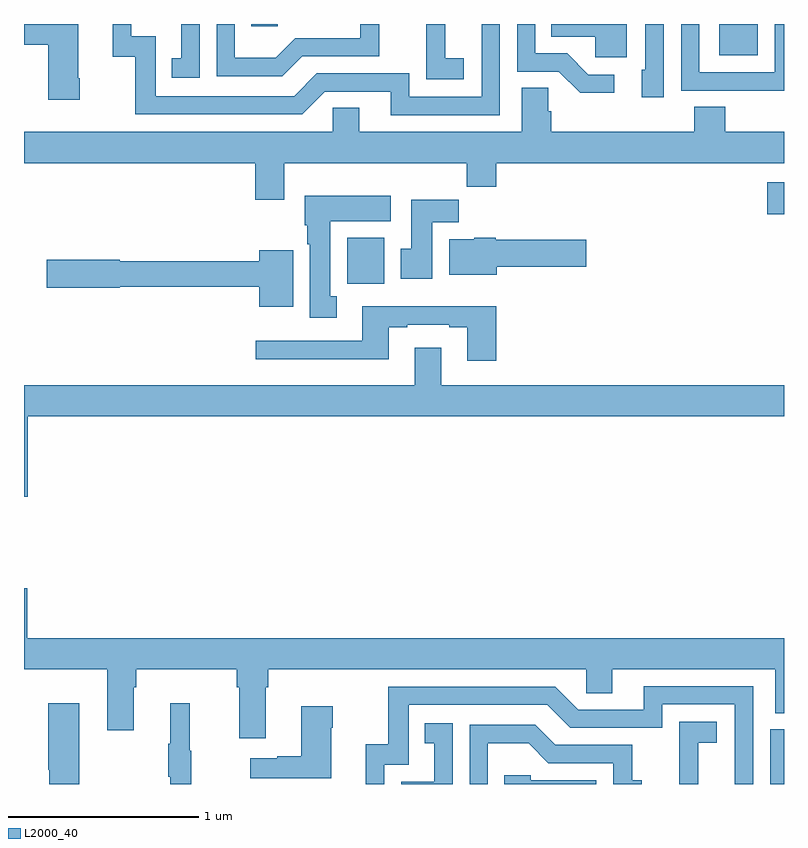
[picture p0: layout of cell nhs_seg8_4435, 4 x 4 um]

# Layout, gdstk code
import gdstk
lib = gdstk.Library(unit=1e-6, precision=1e-09)
def R(c, l, rs):  # rectangles x0, y0, x1, y1
    for r in rs: c.add(gdstk.rectangle(r[:2], r[2:], *l))
def P(c, l, *ps):  # polygons
    for p in ps: c.add(gdstk.Polygon(p, *l))
L2000_40 = (2000, 40)

nhs_seg8_4435 = lib.new_cell('nhs_seg8_4435')
R(nhs_seg8_4435, L2000_40, [(384.927,1111.9,385,1112.187), (382.7,1114.532,382.897,1114.774), (384.912,1114.898,385,1115.068), (384.659,1115.735,384.862,1115.9), (382.195,1115.889,382.335,1115.9)])
P(nhs_seg8_4435, L2000_40, [(381.924,1115.9),(381.827,1115.9),(381.827,1115.721),(381.778,1115.721),(381.778,1115.616),(381.924,1115.616)],
  [(384.172,1115.9),(383.776,1115.9),(383.776,1115.834),(384.007,1115.834),(384.007,1115.726),(384.172,1115.726)],
  [(384.106,1115.634),(383.971,1115.634),(383.86,1115.745),(383.691,1115.745),(383.691,1115.9),(383.595,1115.9),(383.595,1115.649),(383.814,1115.649),(383.927,1115.537),(384.106,1115.537)],
  [(384.366,1115.9),(384.27,1115.9),(384.27,1115.658),(384.251,1115.658),(384.251,1115.514),(384.366,1115.514)],
  [(383.505,1115.9),(383.409,1115.9),(383.409,1115.517),(383.028,1115.517),(383.028,1115.64),(382.542,1115.64),(382.422,1115.52),(381.693,1115.52),(381.693,1115.835),(381.564,1115.835),(381.564,1115.9),(381.467,1115.9),(381.467,1115.727),(381.585,1115.727),(381.585,1115.424),(382.464,1115.424),(382.584,1115.544),(382.931,1115.544),(382.931,1115.421),(383.505,1115.421)],
  [(381.294,1115.614),(381.286,1115.614),(381.286,1115.9),(381,1115.9),(381,1115.801),(381.002,1115.801),(381.002,1115.791),(381.128,1115.791),(381.128,1115.502),(381.294,1115.502)],
  [(382.465,1115.73),(382.869,1115.73),(382.869,1115.9),(382.77,1115.9),(382.77,1115.826),(382.428,1115.826),(382.324,1115.722),(382.11,1115.722),(382.11,1115.9),(382.014,1115.9),(382.014,1115.625),(382.36,1115.625)],
  [(383.314,1115.719),(383.216,1115.719),(383.216,1115.9),(383.117,1115.9),(383.117,1115.815),(383.116,1115.815),(383.116,1115.609),(383.314,1115.609)],
  [(385,1115.9),(384.951,1115.9),(384.951,1115.646),(384.555,1115.646),(384.555,1115.9),(384.459,1115.9),(384.459,1115.55),(384.775,1115.55),(384.775,1115.549),(385,1115.549)],
  [(382.369,1115.168),(383.329,1115.168),(383.329,1115.044),(383.486,1115.044),(383.486,1115.168),(385,1115.168),(385,1115.332),(384.692,1115.332),(384.692,1115.465),(384.527,1115.465),(384.527,1115.332),(383.774,1115.332),(383.774,1115.441),(383.76,1115.441),(383.76,1115.564),(383.621,1115.564),(383.621,1115.332),(382.765,1115.332),(382.765,1115.459),(382.626,1115.459),(382.626,1115.332),(381,1115.332),(381,1115.168),(382.217,1115.168),(382.217,1114.974),(382.369,1114.974)],
  [(382.645,1114.466),(382.612,1114.466),(382.612,1114.862),(382.93,1114.862),(382.93,1114.996),(382.478,1114.996),(382.478,1114.842),(382.49,1114.842),(382.49,1114.742),(382.505,1114.742),(382.505,1114.353),(382.645,1114.353)],
  [(383.149,1114.856),(383.288,1114.856),(383.288,1114.975),(383.039,1114.975),(383.039,1114.716),(382.982,1114.716),(382.982,1114.56),(383.149,1114.56)],
  [(383.488,1114.622),(383.959,1114.622),(383.959,1114.764),(383.484,1114.764),(383.484,1114.774),(383.37,1114.774),(383.37,1114.768),(383.237,1114.768),(383.237,1114.58),(383.488,1114.58)],
  [(382.417,1114.708),(382.238,1114.708),(382.238,1114.652),(381.504,1114.652),(381.504,1114.658),(381.12,1114.658),(381.12,1114.511),(381.504,1114.511),(381.504,1114.516),(382.238,1114.516),(382.238,1114.412),(382.417,1114.412)],
  [(383.486,1114.414),(382.781,1114.414),(382.781,1114.233),(382.221,1114.233),(382.221,1114.136),(382.921,1114.136),(382.921,1114.305),(383.017,1114.305),(383.017,1114.317),(383.237,1114.317),(383.237,1114.305),(383.333,1114.305),(383.333,1114.128),(383.486,1114.128)],
  [(381.02,1113.836),(385,1113.836),(385,1114),(383.197,1114),(383.197,1114.195),(383.057,1114.195),(383.057,1114),(381,1114),(381,1113.411),(381.02,1113.411)],
  [(382.273,1112.408),(382.286,1112.408),(382.286,1112.504),(383.958,1112.504),(383.958,1112.377),(384.097,1112.377),(384.097,1112.504),(384.953,1112.504),(384.953,1112.272),(385,1112.272),(385,1112.668),(381.017,1112.668),(381.017,1112.929),(381,1112.929),(381,1112.504),(381.437,1112.504),(381.437,1112.184),(381.577,1112.184),(381.577,1112.408),(381.59,1112.408),(381.59,1112.504),(382.121,1112.504),(382.121,1112.408),(382.133,1112.408),(382.133,1112.142),(382.273,1112.142)],
  [(382.896,1112.001),(383.025,1112.001),(383.025,1112.316),(383.754,1112.316),(383.874,1112.196),(384.36,1112.196),(384.36,1112.319),(384.741,1112.319),(384.741,1111.9),(384.837,1111.9),(384.837,1112.415),(384.263,1112.415),(384.263,1112.292),(383.916,1112.292),(383.796,1112.412),(382.917,1112.412),(382.917,1112.11),(382.799,1112.11),(382.799,1111.9),(382.896,1111.9)],
  [(381.88,1112.076),(381.872,1112.076),(381.872,1112.326),(381.77,1112.326),(381.77,1112.113),(381.759,1112.113),(381.759,1111.939),(381.77,1111.939),(381.77,1111.9),(381.88,1111.9)],
  [(381.292,1112.326),(381.128,1112.326),(381.128,1111.974),(381.134,1111.974),(381.134,1111.9),(381.292,1111.9)],
  [(382.618,1112.195),(382.626,1112.195),(382.626,1112.308),(382.46,1112.308),(382.46,1112.045),(382.334,1112.045),(382.334,1112.035),(382.191,1112.035),(382.191,1111.931),(382.618,1111.931)],
  [(384.548,1112.117),(384.646,1112.117),(384.646,1112.227),(384.448,1112.227),(384.448,1112.021),(384.449,1112.021),(384.449,1111.9),(384.548,1111.9)],
  [(383.256,1112.221),(383.11,1112.221),(383.11,1112.115),(383.159,1112.115),(383.159,1111.911),(382.986,1111.911),(382.986,1111.9),(383.256,1111.9)],
  [(383.442,1112.114),(383.656,1112.114),(383.76,1112.01),(384.102,1112.01),(384.102,1111.9),(384.25,1111.9),(384.25,1111.921),(384.201,1111.921),(384.201,1112.106),(383.797,1112.106),(383.692,1112.211),(383.346,1112.211),(383.346,1111.9),(383.442,1111.9)],
  [(384.012,1111.92),(383.667,1111.92),(383.667,1111.947),(383.527,1111.947),(383.527,1111.9),(384.012,1111.9)])

lib.write_gds('nhs_seg8_4435.gds')
